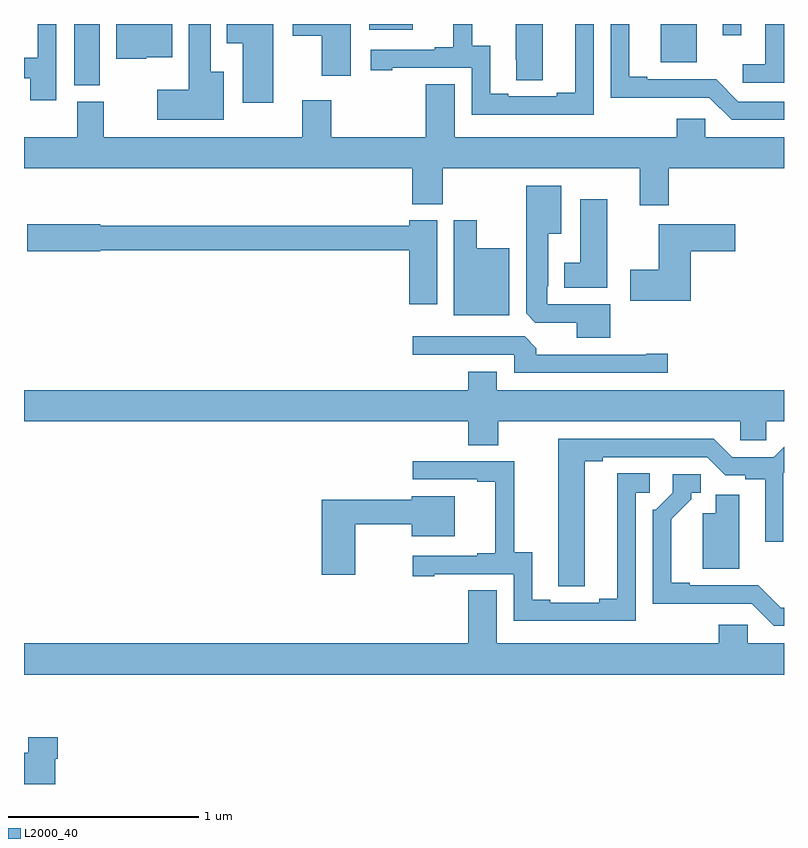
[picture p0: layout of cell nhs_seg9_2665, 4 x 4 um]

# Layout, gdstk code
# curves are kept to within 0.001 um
import gdstk
lib = gdstk.Library(unit=1e-6, precision=1e-09)
def R(c, l, rs):  # rectangles x0, y0, x1, y1
    for r in rs: c.add(gdstk.rectangle(r[:2], r[2:], *l))
def P(c, l, *ps):  # polygons
    for p in ps: c.add(gdstk.Polygon(p, *l))
L2000_40 = (2000, 40)

nhs_seg9_2665 = lib.new_cell('nhs_seg9_2665')
R(nhs_seg9_2665, L2000_40, [(263.264,1210.177,263.398,1210.5), (266.351,1210.298,266.542,1210.5), (266.678,1210.44,266.775,1210.5), (264.818,1210.469,265.045,1210.5)])
P(nhs_seg9_2665, L2000_40, [(264.052,1210.249),(263.983,1210.249),(263.983,1210.5),(263.867,1210.5),(263.867,1210.153),(263.7,1210.153),(263.7,1209.995),(264.052,1209.995)],
  [(264.721,1210.5),(264.414,1210.5),(264.414,1210.438),(264.566,1210.438),(264.566,1210.227),(264.721,1210.227)],
  [(267,1210.5),(266.9,1210.5),(266.9,1210.288),(266.784,1210.288),(266.784,1210.191),(267,1210.191)],
  [(263.643,1210.325),(263.779,1210.325),(263.779,1210.5),(263.486,1210.5),(263.486,1210.316),(263.643,1210.316)],
  [(264.313,1210.5),(264.068,1210.5),(264.068,1210.4),(264.152,1210.4),(264.152,1210.086),(264.313,1210.086)],
  [(267,1210.092),(266.76,1210.092),(266.643,1210.209),(266.281,1210.209),(266.281,1210.222),(266.185,1210.222),(266.185,1210.5),(266.088,1210.5),(266.088,1210.112),(266.607,1210.113),(266.724,1209.996),(267,1209.996)],
  [(265.998,1210.5),(265.901,1210.5),(265.901,1210.139),(265.805,1210.139),(265.805,1210.119),(265.549,1210.119),(265.549,1210.134),(265.453,1210.134),(265.453,1210.385),(265.359,1210.385),(265.359,1210.5),(265.259,1210.5),(265.259,1210.378),(265.163,1210.378),(265.163,1210.365),(264.825,1210.365),(264.825,1210.257),(264.937,1210.257),(264.937,1210.269),(265.356,1210.269),(265.356,1210.023),(265.998,1210.023)],
  [(263.169,1210.5),(263.073,1210.5),(263.073,1210.323),(263,1210.323),(263,1210.215),(263.033,1210.215),(263.033,1210.098),(263.169,1210.098)],
  [(265.729,1210.5),(265.589,1210.5),(265.589,1210.312),(265.59,1210.312),(265.59,1210.204),(265.729,1210.204)],
  [(266.393,1209.74),(267,1209.74),(267,1209.904),(266.586,1209.904),(266.586,1210.002),(266.435,1210.002),(266.435,1209.904),(265.267,1209.904),(265.267,1210.184),(265.115,1210.184),(265.115,1209.904),(264.617,1209.904),(264.617,1210.099),(264.464,1210.099),(264.464,1209.904),(263.419,1209.904),(263.419,1210.092),(263.279,1210.092),(263.279,1209.904),(263,1209.904),(263,1209.74),(265.043,1209.74),(265.043,1209.551),(265.203,1209.551),(265.203,1209.74),(266.24,1209.74),(266.24,1209.546),(266.393,1209.546)],
  [(266.086,1209.024),(265.755,1209.024),(265.755,1209.121),(265.759,1209.121),(265.759,1209.395),(265.828,1209.395),(265.828,1209.649),(265.643,1209.649),(265.643,1208.977),(265.692,1208.928),(265.91,1208.928),(265.91,1208.849),(266.086,1208.849)],
  [(266.071,1209.577),(265.928,1209.577),(265.928,1209.244),(265.844,1209.244),(265.844,1209.113),(266.071,1209.113)],
  [(265.555,1209.319),(265.384,1209.319),(265.384,1209.466),(265.262,1209.466),(265.262,1208.966),(265.555,1208.966)],
  [(265.174,1209.466),(265.028,1209.466),(265.028,1209.439),(263.4,1209.439),(263.4,1209.447),(263.016,1209.447),(263.016,1209.305),(263.4,1209.305),(263.4,1209.31),(265.028,1209.31),(265.028,1209.024),(265.174,1209.024)],
  [(266.51,1209.305),(266.743,1209.305),(266.743,1209.447),(266.342,1209.447),(266.342,1209.207),(266.19,1209.207),(266.19,1209.044),(266.51,1209.044)],
  [(266.389,1208.765),(266.276,1208.765),(266.276,1208.76),(265.697,1208.76),(265.697,1208.794),(265.635,1208.856),(265.047,1208.856),(265.047,1208.76),(265.581,1208.76),(265.581,1208.664),(266.389,1208.664)],
  [(265.497,1208.408),(266.769,1208.408),(266.769,1208.31),(266.907,1208.31),(266.907,1208.408),(267,1208.408),(267,1208.572),(265.489,1208.572),(265.489,1208.671),(265.337,1208.671),(265.337,1208.572),(263,1208.572),(263,1208.408),(265.337,1208.408),(265.337,1208.284),(265.497,1208.284)],
  [(265.951,1208.2),(266.047,1208.2),(266.047,1208.22),(266.595,1208.22),(266.691,1208.124),(266.796,1208.124),(266.796,1208.104),(266.9,1208.104),(266.9,1207.776),(266.997,1207.776),(266.997,1208.136),(267,1208.139),(267,1208.275),(266.945,1208.22),(266.727,1208.22),(266.631,1208.316),(265.811,1208.316),(265.812,1207.54),(265.951,1207.54)],
  [(266.22,1208.034),(266.293,1208.034),(266.293,1208.135),(266.123,1208.135),(266.123,1207.475),(266.027,1207.475),(266.027,1207.455),(265.771,1207.455),(265.771,1207.47),(265.675,1207.47),(265.675,1207.721),(265.581,1207.721),(265.581,1208.199),(265.047,1208.199),(265.047,1208.103),(265.385,1208.103),(265.385,1208.091),(265.481,1208.091),(265.481,1207.714),(265.385,1207.714),(265.385,1207.701),(265.047,1207.701),(265.047,1207.593),(265.159,1207.593),(265.159,1207.605),(265.578,1207.605),(265.578,1207.359),(266.22,1207.359)],
  [(267,1207.428),(266.982,1207.428),(266.865,1207.545),(266.503,1207.545),(266.503,1207.558),(266.407,1207.558),(266.407,1207.894),(266.512,1207.999),(266.512,1208.034),(266.562,1208.034),(266.562,1208.13),(266.415,1208.13),(266.415,1208.034),(266.325,1207.944),(266.31,1207.944),(266.31,1207.448),(266.829,1207.449),(266.946,1207.332),(267,1207.332)],
  [(266.764,1208.022),(266.642,1208.022),(266.642,1207.924),(266.573,1207.924),(266.573,1207.634),(266.764,1207.634)],
  [(264.744,1207.867),(265.04,1207.867),(265.04,1207.805),(265.267,1207.805),(265.267,1208.014),(265.04,1208.014),(265.04,1207.996),(264.566,1207.996),(264.566,1207.602),(264.744,1207.602)],
  [(267,1207.24),(266.808,1207.24),(266.808,1207.338),(266.657,1207.338),(266.657,1207.24),(265.489,1207.24),(265.489,1207.52),(265.337,1207.52),(265.337,1207.24),(263,1207.24),(263,1207.076),(267,1207.076)],
  [(263.164,1206.632),(263.177,1206.632),(263.177,1206.745),(263.023,1206.745),(263.023,1206.664),(263,1206.664),(263,1206.5),(263.164,1206.5)])

lib.write_gds('nhs_seg9_2665.gds')
